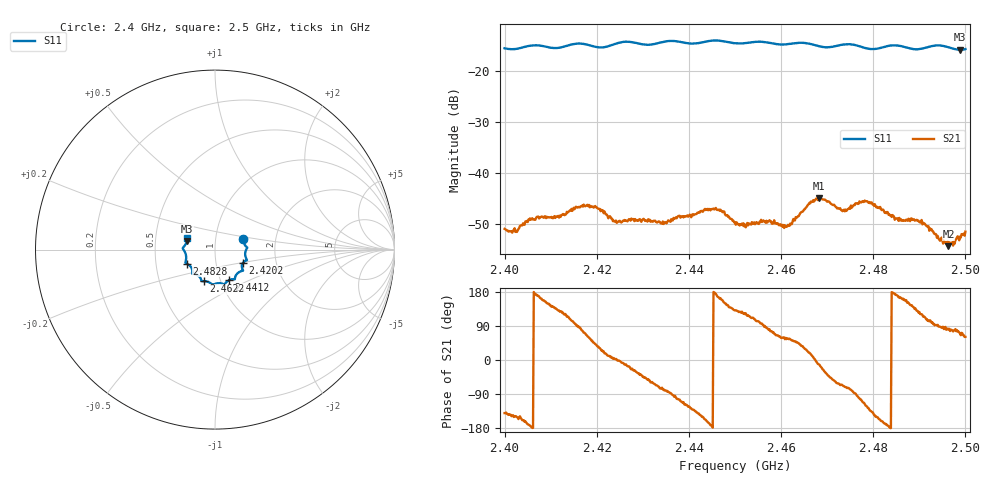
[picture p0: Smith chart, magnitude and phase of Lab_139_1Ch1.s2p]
# Hz S RI R 50
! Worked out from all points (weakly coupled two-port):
!   601 points, 2.4 GHz to 2.5 GHz, reference 50 ohm
!   highest |S21| = -44.79 dB at 2.4682 GHz (marker M1); lowest = -54.3 dB at 2.4963 GHz (marker M2)
!   lowest |S11| = -15.8 dB at 2.4988 GHz (marker M3), VSWR 1.39, Z = 36.3 + j3.42 ohm
!   |S11| at or under -10 dB: start of sweep to end of sweep
!   S12 and S22 are empty: the file has one direction only
!   S11 on the Smith chart (normalised r, x): 2.4 GHz: 1.36, +0.17; 2.4202 GHz: 1.35, -0.20; 2.4412 GHz: 1.09, -0.39; 2.4622 GHz: 0.83, -0.30; 2.4828 GHz: 0.72, -0.12; 2.5 GHz: 0.73, +0.09
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2.4e9  0.1571 0.0609  -0.0022 -0.00184  0 0  0 0
2.402167e9  0.1614 0.0352  -0.0025 -0.00149  0 0  0 0
2.405667e9  0.1784 0.0135  -0.00351 -0.00031  0 0  0 0
2.411667e9  0.1682 -0.0261  -0.0025 0.00291  0 0  0 0
2.416667e9  0.1774 -0.0592  0.000895 0.00469  0 0  0 0
2.420167e9  0.1569 -0.0719  0.0037 0.00266  0 0  0 0
2.424e9  0.152 -0.1071  0.00339 0.000111  0 0  0 0
2.433333e9  0.1128 -0.152  0.00117 -0.00316  0 0  0 0
2.441167e9  0.0757 -0.1714  -0.00269 -0.00291  0 0  0 0
2.446e9  0.0511 -0.1942  -0.00437 0.000652  0 0  0 0
2.45e9  0.0271 -0.1868  -0.00217 0.00251  0 0  0 0
2.462167e9  -0.0625 -0.1762  0.0019 0.00254  0 0  0 0
2.466667e9  -0.0774 -0.1675  0.00518 0.00106  0 0  0 0
2.468167e9  -0.0825 -0.1564  0.00565 -0.00113  0 0  0 0
2.473667e9  -0.1238 -0.1356  0.00158 -0.00412  0 0  0 0
2.478667e9  -0.1286 -0.1075  -0.00291 -0.00448  0 0  0 0
2.482833e9  -0.1578 -0.0779  -0.004 -0.000781  0 0  0 0
2.483333e9  -0.1607 -0.0766  -0.00392 -0.000378  0 0  0 0
2.49e9  -0.1637 -0.0232  -0.002 0.00268  0 0  0 0
2.496333e9  -0.1713 0.0191  0.000312 0.00191  0 0  0 0
2.498833e9  -0.1563 0.0458  0.000831 0.00226  0 0  0 0
2.5e9  -0.1533 0.0619  0.00131 0.00235  0 0  0 0
